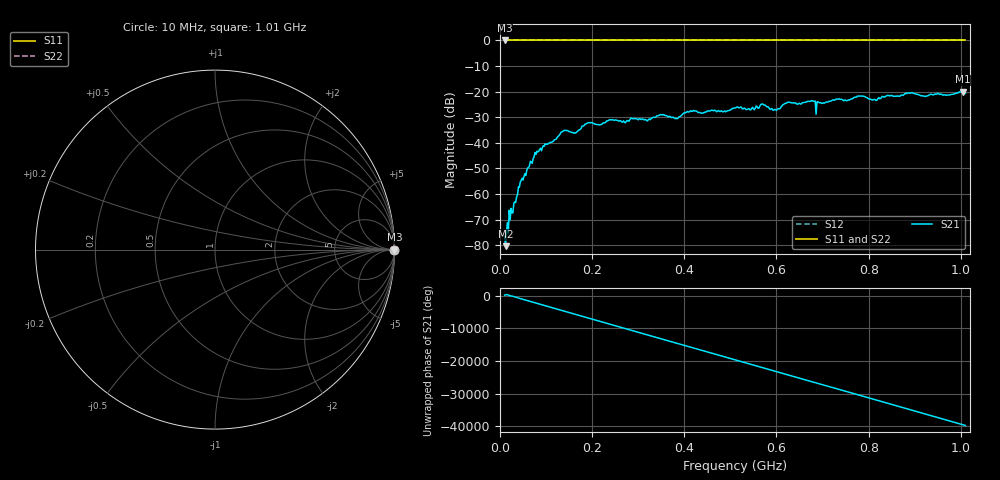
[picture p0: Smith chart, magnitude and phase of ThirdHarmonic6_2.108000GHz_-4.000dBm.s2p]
! 8/17/2025 1:12:38 AM
! C:\ANRITSUVNA\TEMP\TEMP.S2P
! CHANNEL.1
! TR.MEASUREMENT
! RAW.DATA
! RF.CORRECTION.OFF
! AVERAGING.OFF
! IF.BANDWIDTH: 5KHZ
! SWEEPTYPE:  FREQ.SWEEP(Linear)
! Reference Plane Port Info
! PORT:  PORT1  PORT2
! DISTANCE:  0  m  0  m
! TIME:  0  s  0  s
! PHASE.OFFSET:  0  deg.  0  deg.
! LOSS:  0  dB  0  dB
! REF.LOSS:  0  dB  0  dB
! REF.FREQ:  0  Hz  0  Hz
! Power Info
! POWER:  -20  dBm  -20  dBm
! EFF.POWER:  -20  dBm  -20  dBm
! SOURCE.ATTEN:  0  dB  0  dB
! TEST.ATTEN:  0  dB  0  dB
# GHZ S RI R 50.0
! FREQ.GHZ  S11RE  S11IM  S21RE  S21IM  S12RE  S12IM  S22RE  S22IM
!; PortSelection: Port_12
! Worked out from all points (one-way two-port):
!   501 points, 10 MHz to 1.01 GHz, reference 50 ohm
!   highest |S21| = -20.01 dB at 1.004 GHz (marker M1); lowest = -80.3 dB at 12 MHz (marker M2)
!   lowest |S11| = 0.0 dB at 10 MHz (marker M3)
!   |S11| at or under -10 dB: nowhere
!   |S22| runs from 0.0 to 0.0 dB; largest |S21 - S12| = 1.1
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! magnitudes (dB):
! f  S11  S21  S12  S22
! 10 MHz  0.0  -76.3  0.0  0.0
! 12 MHz  0.0  -80.3  0.0  0.0
! 44 MHz  0.0  -55.2  0.0  0.0
! 78 MHz  0.0  -44.5  0.0  0.0
! 136 MHz  0.0  -35.5  0.0  0.0
! 162 MHz  0.0  -36.0  0.0  0.0
! 178 MHz  0.0  -33.5  0.0  0.0
! 194 MHz  0.0  -32.1  0.0  0.0
! 344 MHz  0.0  -29.4  0.0  0.0
! 382 MHz  0.0  -30.4  0.0  0.0
! 410 MHz  0.0  -28.0  0.0  0.0
! 510 MHz  0.0  -26.4  0.0  0.0
! 570 MHz  0.0  -24.8  0.0  0.0
! 596 MHz  0.0  -26.9  0.0  0.0
! 624 MHz  0.0  -24.2  0.0  0.0
! 678 MHz  0.0  -23.6  0.0  0.0
! 690 MHz  0.0  -24.0  0.0  0.0
! 780 MHz  0.0  -21.7  0.0  0.0
! 814 MHz  0.0  -23.1  0.0  0.0
! 844 MHz  0.0  -21.5  0.0  0.0
! 1.004 GHz  0.0  -20.0  0.0  0.0
! 1.01 GHz  0.0  -20.6  0.0  0.0
